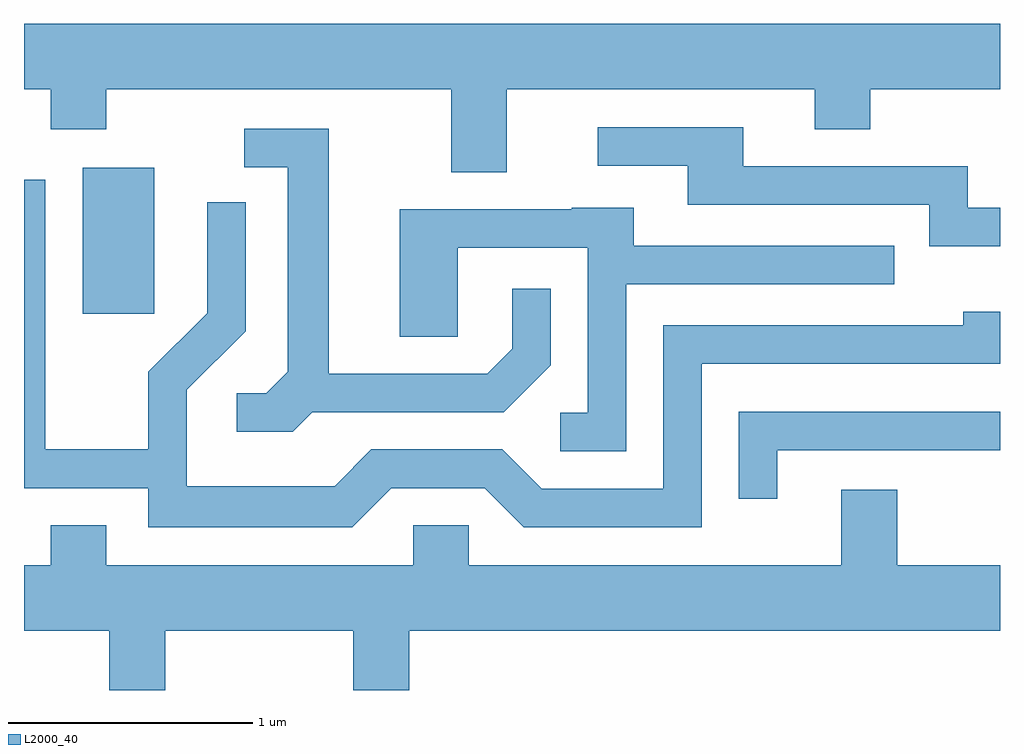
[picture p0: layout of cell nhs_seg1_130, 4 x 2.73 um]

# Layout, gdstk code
import gdstk
lib = gdstk.Library(unit=1e-6, precision=1e-09)
def R(c, l, rs):  # rectangles x0, y0, x1, y1
    for r in rs: c.add(gdstk.rectangle(r[:2], r[2:], *l))
def P(c, l, *ps):  # polygons
    for p in ps: c.add(gdstk.Polygon(p, *l))
L2000_40 = (2000, 40)

nhs_seg1_130 = lib.new_cell('nhs_seg1_130')
R(nhs_seg1_130, L2000_40, [(187.851,965.256,188.144,965.854)])
P(nhs_seg1_130, L2000_40, [(189.589,966.176),(190.851,966.176),(190.851,966.011),(191.079,966.011),(191.079,966.176),(191.611,966.176),(191.611,966.444),(187.611,966.444),(187.611,966.176),(187.721,966.176),(187.721,966.011),(187.949,966.011),(187.949,966.176),(189.361,966.176),(189.361,965.836),(189.589,965.836)],
  [(191.611,965.689),(191.479,965.689),(191.479,965.859),(190.559,965.859),(190.559,966.019),(189.963,966.019),(189.963,965.861),(190.331,965.861),(190.331,965.701),(191.321,965.701),(191.321,965.531),(191.611,965.531)],
  [(188.792,964.851),(189.577,964.851),(189.769,965.044),(189.769,965.358),(189.611,965.358),(189.611,965.112),(189.509,965.009),(188.859,965.009),(188.859,966.014),(188.513,966.014),(188.513,965.856),(188.691,965.856),(188.691,965.017),(188.604,964.929),(188.483,964.929),(188.483,964.771),(188.712,964.771)],
  [(189.117,964.541),(189.499,964.541),(189.659,964.381),(190.389,964.381),(190.389,965.051),(191.611,965.051),(191.611,965.264),(191.461,965.264),(191.461,965.209),(190.231,965.209),(190.231,964.539),(189.732,964.539),(189.572,964.699),(189.034,964.699),(188.884,964.549),(188.279,964.549),(188.279,964.944),(188.519,965.184),(188.519,965.713),(188.361,965.713),(188.361,965.257),(188.121,965.017),(188.121,964.699),(187.699,964.699),(187.699,965.804),(187.611,965.804),(187.611,964.541),(188.121,964.541),(188.121,964.381),(188.957,964.381)],
  [(190.079,965.376),(191.178,965.376),(191.178,965.534),(190.109,965.534),(190.109,965.689),(189.855,965.689),(189.855,965.684),(189.151,965.684),(189.151,965.161),(189.389,965.161),(189.389,965.526),(189.921,965.526),(189.921,964.849),(189.808,964.849),(189.808,964.691),(190.079,964.691)],
  [(190.699,964.696),(191.611,964.696),(191.611,964.854),(190.541,964.854),(190.541,964.498),(190.699,964.498)],
  [(188.189,963.956),(188.961,963.956),(188.961,963.712),(189.189,963.712),(189.189,963.956),(191.611,963.956),(191.611,964.224),(191.189,964.224),(191.189,964.534),(190.961,964.534),(190.961,964.224),(189.434,964.224),(189.434,964.389),(189.206,964.389),(189.206,964.224),(187.949,964.224),(187.949,964.389),(187.721,964.389),(187.721,964.224),(187.611,964.224),(187.611,963.956),(187.961,963.956),(187.961,963.712),(188.189,963.712)])

lib.write_gds('nhs_seg1_130.gds')
